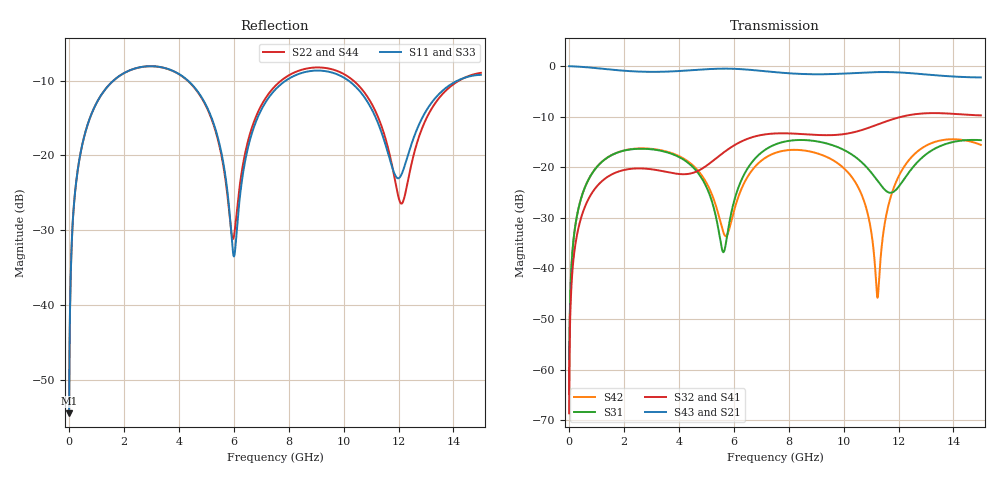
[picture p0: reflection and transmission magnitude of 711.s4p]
! Created with skrf 1.8.0 (http://scikit-rf.org).
# GHz S RI R 50.0
!freq ReS11 ImS11 ReS12 ImS12 ReS13 ImS13
! ReS14 ImS14
! ReS21 ImS21 ReS22 ImS22 ReS23 ImS23
! ReS24 ImS24
! ReS31 ImS31 ReS32 ImS32 ReS33 ImS33
! ReS34 ImS34
! ReS41 ImS41 ReS42 ImS42 ReS43 ImS43
! ReS44 ImS44
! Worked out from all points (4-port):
!   2499 points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, 5 MHz to 15 GHz, reference 50 ohm
!   strongest paths, dB at 5 MHz, 3.476 GHz, 7.19 GHz, 11.1 GHz, 15 GHz:
!     S43: 0.0, -1.1, -1.0, -1.2, -2.2
!     S21: 0.0, -1.1, -1.0, -1.2, -2.2
!     S32: -68.6, -20.8, -13.5, -11.8, -9.7
!     S41: -68.6, -20.9, -13.5, -11.8, -9.8
!     S31: -64.8, -16.9, -16.4, -21.7, -14.6
!     S42: -64.8, -16.8, -18.0, -36.7, -15.6
!   lowest |S11| = -54.5 dB at 5 MHz (marker M1), VSWR 1.00, Z = 50.2 + j0.115 ohm
!   |S11| at or under -10 dB: start of sweep to 1.616 GHz; 4.334 GHz to 7.892 GHz (3.558 GHz wide, 58.2 % of centre); 10.18 GHz to 14.15 GHz (3.967 GHz wide, 32.6 % of centre)
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0.005  0.0015 0.00114  0.9985 -0.00292  7.42e-05 0.000574  -7.22e-05 -0.000363
       0.9985 -0.00292  0.0015 0.00114  -7.22e-05 -0.000363  7.42e-05 0.000574
       7.42e-05 0.000574  -7.22e-05 -0.000363  0.0015 0.00114  0.9985 -0.00292
       -7.22e-05 -0.000363  7.42e-05 0.000574  0.9985 -0.00292  0.0015 0.00114
0.3126303  0.0207 0.0757  0.9719 -0.1822  0.00901 0.0344  -0.00758 -0.0216
           0.9719 -0.1822  0.0206 0.0757  -0.00758 -0.0216  0.0091 0.0344
           0.00901 0.0344  -0.00758 -0.0216  0.0207 0.0757  0.9719 -0.1822
           -0.00758 -0.0216  0.0091 0.0344  0.9719 -0.1822  0.0206 0.0757
1.569404  0.2473 0.1878  0.5991 -0.6997  0.1148 0.0661  -0.0841 -0.0141
          0.5991 -0.6997  0.247 0.1878  -0.0842 -0.0141  0.1162 0.0644
          0.1148 0.0661  -0.0842 -0.0141  0.2473 0.1878  0.5991 -0.6997
          -0.0841 -0.0141  0.1162 0.0644  0.5991 -0.6997  0.247 0.1878
5.827428  0.0239 -0.0387  -0.9314 -0.1468  0.0186 0.0198  -0.0203 0.1514
          -0.9314 -0.1468  0.0295 -0.0316  -0.0192 0.1516  -0.0197 0.0137
          0.0186 0.0198  -0.0192 0.1516  0.0245 -0.0369  -0.9316 -0.1465
          -0.0203 0.1514  -0.0197 0.0137  -0.9316 -0.1465  0.0284 -0.03
9.328887  0.3655 -0.0276  0.025 0.8318  0.1192 -0.1262  0.1977 -0.0614
          0.025 0.8318  0.3814 -0.0519  0.1976 -0.0637  0.1169 -0.0534
          0.1192 -0.1262  0.1976 -0.0637  0.3674 -0.0274  0.0238 0.831
          0.1977 -0.0614  0.1169 -0.0534  0.0238 0.831  0.3838 -0.0511
11.23593  0.1226 -0.1145  0.7325 0.4748  -0.0567 -0.0469  0.1398 -0.2245
          0.7325 0.4748  0.1118 -0.1461  0.1366 -0.2265  -0.00505 -0.000897
          -0.0567 -0.0469  0.1366 -0.2265  0.1257 -0.1156  0.7306 0.4768
          0.1398 -0.2245  -0.00505 -0.000897  0.7306 0.4768  0.1128 -0.1485
15  0.3456 0.0171  0.1732 -0.7525  0.1348 -0.1274  -0.3247 -0.0182
    0.1732 -0.7525  0.3553 0.0311  -0.3255 -0.0126  0.1399 -0.0902
    0.1348 -0.1274  -0.3255 -0.0126  0.3443 0.0171  0.1771 -0.7522
    -0.3247 -0.0182  0.1399 -0.0902  0.1771 -0.7522  0.3546 0.0341
